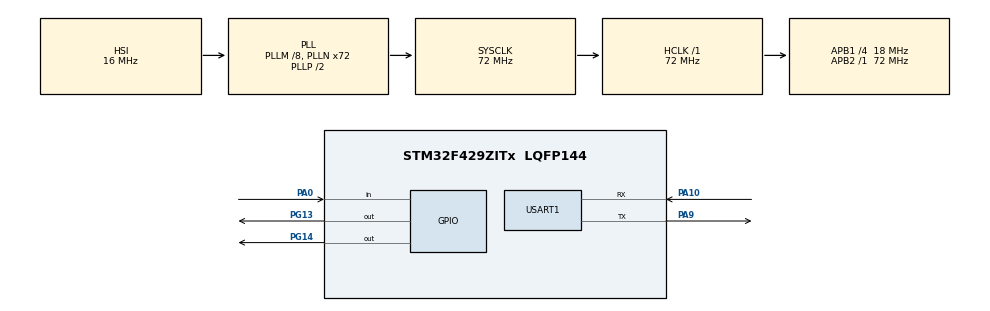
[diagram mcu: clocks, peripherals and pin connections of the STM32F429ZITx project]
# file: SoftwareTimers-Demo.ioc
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FREERTOS.Tasks01=defaultTask,24,128,StartDefaultTask,Default,NULL,Dynamic,NULL,NULL
Mcu.Family=STM32F4
Mcu.Name=STM32F429ZITx
Mcu.Package=LQFP144
NVIC.PriorityGroup=NVIC_PRIORITYGROUP_4
PA0/WKUP.GPIO_PuPd=GPIO_PULLDOWN
PA0/WKUP.Signal=GPIO_Input
PA10.Mode=Asynchronous
PA10.Signal=USART1_RX
PA9.Mode=Asynchronous
PA9.Signal=USART1_TX
PG13.Signal=GPIO_Output
PG14.Signal=GPIO_Output
ProjectManager.HeapSize=0x200
ProjectManager.StackSize=0x400
ProjectManager.TargetToolchain=STM32CubeIDE
RCC.48MHZClocksFreq_Value=48000000
RCC.AHBFreq_Value=72000000
RCC.APB1CLKDivider=RCC_HCLK_DIV4
RCC.APB1Freq_Value=18000000
RCC.APB1TimFreq_Value=36000000
RCC.APB2Freq_Value=72000000
RCC.APB2TimFreq_Value=72000000
RCC.CortexFreq_Value=72000000
RCC.HCLKFreq_Value=72000000
RCC.HSE_VALUE=8000000
RCC.HSI_VALUE=16000000
RCC.LSE_VALUE=32768
RCC.PLLM=8
RCC.PLLN=72
RCC.PLLQ=3
RCC.PLLSAIN=50
RCC.SYSCLKFreq_VALUE=72000000
RCC.SYSCLKSource=RCC_SYSCLKSOURCE_PLLCLK
RCC.VCOOutputFreq_Value=144000000
USART1.VirtualMode=VM_ASYNC
VP_FREERTOS_VS_CMSIS_V2.Mode=CMSIS_V2
board=STM32F429I-DISC1

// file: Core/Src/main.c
/* USER CODE BEGIN Header */
/**
 ******************************************************************************
 * @file           : main.c
 * @brief          : Main program body
 ******************************************************************************
 * @attention
 *
 * Copyright (c) 2025 STMicroelectronics.
 * All rights reserved.
 *
 * This software is licensed under terms that can be found in the LICENSE file
 * in the root directory of this software component.
 * If no LICENSE file comes with this software, it is provided AS-IS.
 *
 ******************************************************************************
 */
/* USER CODE END Header */
#include "main.h"

UART_HandleTypeDef huart1;

/* Definitions for defaultTask */

/* USER CODE BEGIN PV */
/* Timer handles */
TimerHandle_t xOneShotTimer;
TimerHandle_t xPeriodicTimer;

/* Counters */
static volatile uint32_t ulOneShotTimerExpiredCount = 0;
static volatile uint32_t ulPeriodicTimerExpiredCount = 0;
/* USER CODE END PV */

void SystemClock_Config(void);
static void MX_GPIO_Init(void);
static void MX_USART1_UART_Init(void);
void StartDefaultTask(void *argument);

/* USER CODE BEGIN PFP */
/* Function prototypes */
static void vOneShotTimerCallback(TimerHandle_t xTimer);
static void vPeriodicTimerCallback(TimerHandle_t xTimer);
static void ButtonTask(void *pvParameters);
/* USER CODE END PFP */

/* USER CODE BEGIN 0 */
int _write(int file, char *data, int len)
{
	HAL_UART_Transmit(&huart1, (uint8_t*)data, len, HAL_MAX_DELAY);
	return len;
}
/* USER CODE END 0 */

int main(void)
{

	/* MCU Configuration--------------------------------------------------------*/

	/* Reset of all peripherals, Initializes the Flash interface and the Systick. */
	HAL_Init();

	/* Configure the system clock */
	SystemClock_Config();

	/* Initialize all configured peripherals */
	MX_GPIO_Init();
	MX_USART1_UART_Init();

	/* Init scheduler */

	/* USER CODE BEGIN RTOS_TIMERS */
	/* start timers, add new ones, ... */
	/* Create One-Shot Timer (fires after 5 seconds) */
	xOneShotTimer = xTimerCreate(
			"OneShotTimer",         /* Name of the timer */
			pdMS_TO_TICKS(5000),    /* Timer period in ticks (5 seconds) */
			pdFALSE,                /* Auto-reload is false (one-shot) */
			(void*)0,               /* Timer ID (unused) */
			vOneShotTimerCallback); /* Callback function */

	/* Create Periodic Timer (fires every 1 second) */
	xPeriodicTimer = xTimerCreate(
			"PeriodicTimer",        /* Name of the timer */
			pdMS_TO_TICKS(1000),    /* Timer period in ticks (1 second) */
			pdTRUE,                 /* Auto-reload is true (periodic) */
			(void*)1,               /* Timer ID (unused) */
			vPeriodicTimerCallback);/* Callback function */

	if (xOneShotTimer != NULL && xPeriodicTimer != NULL) {
		printf("Timers created successfully.\r\n");

		/* Start the timers */
		if (xTimerStart(xOneShotTimer, 0) == pdPASS) {
			printf("One-Shot Timer started (5 seconds).\r\n");
		} else {
			printf("Failed to start One-Shot Timer.\r\n");
		}

		if (xTimerStart(xPeriodicTimer, 0) == pdPASS) {
			printf("Periodic Timer started (1 second).\r\n");
		} else {
			printf("Failed to start Periodic Timer.\r\n");
		}
		/* USER CODE END RTOS_TIMERS */

		/* Create the thread(s) */
		/* creation of defaultTask */

		/* USER CODE BEGIN RTOS_THREADS */
		/* add threads, ... */
		printf("=== FreeRTOS Software Timers Demonstration ===\r\n");
		printf("STM32F429I Discovery Board\r\n");

		/* Create button task to interact with one-shot timer */
		xTaskCreate(
				ButtonTask,             /* Task function */
				"Button",               /* Task name */
				configMINIMAL_STACK_SIZE, /* Stack size */
				NULL,                   /* Parameters to pass to the task */
				tskIDLE_PRIORITY + 1,   /* Task priority */
				NULL                    /* Task handle */
		);
		printf("All tasks created. Starting scheduler...\r\n");

		/* Start the scheduler */
		vTaskStartScheduler();
	} else {
		printf("Failed to create timers. Out of memory?\r\n");
	}
	/* USER CODE END RTOS_THREADS */

	/* Start scheduler */

	/* We should never get here as control is now taken by the scheduler */

	/* Infinite loop */
	while (1)
	{

	}
}

void SystemClock_Config(void)
{
	RCC_OscInitTypeDef RCC_OscInitStruct = {0};
	RCC_ClkInitTypeDef RCC_ClkInitStruct = {0};

	/** Configure the main internal regulator output voltage
	 */
	__HAL_RCC_PWR_CLK_ENABLE();
	__HAL_PWR_VOLTAGESCALING_CONFIG(PWR_REGULATOR_VOLTAGE_SCALE3);

	/** Initializes the RCC Oscillators according to the specified parameters
	 * in the RCC_OscInitTypeDef structure.
	 */
	RCC_OscInitStruct.OscillatorType = RCC_OSCILLATORTYPE_HSI;
	RCC_OscInitStruct.HSIState = RCC_HSI_ON;
	RCC_OscInitStruct.HSICalibrationValue = RCC_HSICALIBRATION_DEFAULT;
	RCC_OscInitStruct.PLL.PLLState = RCC_PLL_ON;
	RCC_OscInitStruct.PLL.PLLSource = RCC_PLLSOURCE_HSI;
	RCC_OscInitStruct.PLL.PLLM = 8;
	RCC_OscInitStruct.PLL.PLLN = 72;
	RCC_OscInitStruct.PLL.PLLP = RCC_PLLP_DIV2;
	RCC_OscInitStruct.PLL.PLLQ = 3;
	if (HAL_RCC_OscConfig(&RCC_OscInitStruct) != HAL_OK)
	{
		Error_Handler();
	}

	/** Initializes the CPU, AHB and APB buses clocks
	 */
	RCC_ClkInitStruct.ClockType = RCC_CLOCKTYPE_HCLK|RCC_CLOCKTYPE_SYSCLK
			|RCC_CLOCKTYPE_PCLK1|RCC_CLOCKTYPE_PCLK2;
	RCC_ClkInitStruct.SYSCLKSource = RCC_SYSCLKSOURCE_PLLCLK;
	RCC_ClkInitStruct.AHBCLKDivider = RCC_SYSCLK_DIV1;
	RCC_ClkInitStruct.APB1CLKDivider = RCC_HCLK_DIV4;
	RCC_ClkInitStruct.APB2CLKDivider = RCC_HCLK_DIV1;

	if (HAL_RCC_ClockConfig(&RCC_ClkInitStruct, FLASH_LATENCY_2) != HAL_OK)
	{
		Error_Handler();
	}
}

static void MX_USART1_UART_Init(void)
{

	huart1.Instance = USART1;
	huart1.Init.BaudRate = 115200;
	huart1.Init.WordLength = UART_WORDLENGTH_8B;
	huart1.Init.StopBits = UART_STOPBITS_1;
	huart1.Init.Parity = UART_PARITY_NONE;
	huart1.Init.Mode = UART_MODE_TX_RX;
	huart1.Init.HwFlowCtl = UART_HWCONTROL_NONE;
	huart1.Init.OverSampling = UART_OVERSAMPLING_16;
	if (HAL_UART_Init(&huart1) != HAL_OK)
	{
		Error_Handler();
	}

}

static void MX_GPIO_Init(void)
{
	GPIO_InitTypeDef GPIO_InitStruct = {0};

	/* GPIO Ports Clock Enable */
	__HAL_RCC_GPIOA_CLK_ENABLE();
	__HAL_RCC_GPIOG_CLK_ENABLE();

	/*Configure GPIO pin Output Level */
	HAL_GPIO_WritePin(GPIOG, GPIO_PIN_13|GPIO_PIN_14, GPIO_PIN_RESET);

	/*Configure GPIO pin : PA0 */
	GPIO_InitStruct.Pin = GPIO_PIN_0;
	GPIO_InitStruct.Mode = GPIO_MODE_INPUT;
	GPIO_InitStruct.Pull = GPIO_PULLDOWN;
	HAL_GPIO_Init(GPIOA, &GPIO_InitStruct);

	/*Configure GPIO pins : PG13 PG14 */
	GPIO_InitStruct.Pin = GPIO_PIN_13|GPIO_PIN_14;
	GPIO_InitStruct.Mode = GPIO_MODE_OUTPUT_PP;
	GPIO_InitStruct.Pull = GPIO_NOPULL;
	GPIO_InitStruct.Speed = GPIO_SPEED_FREQ_LOW;
	HAL_GPIO_Init(GPIOG, &GPIO_InitStruct);

}

/* USER CODE BEGIN 4 */
/**
 * @brief One-Shot Timer Callback Function
 * @param xTimer: Handle of the timer that expired
 */
static void vOneShotTimerCallback(TimerHandle_t xTimer)
{
	(void)xTimer; /* Suppress unused parameter warning */
	ulOneShotTimerExpiredCount++;
	printf("One-Shot Timer Expired! Count: %lu\r\n", ulOneShotTimerExpiredCount);
	HAL_GPIO_TogglePin(GPIOG, GPIO_PIN_14); /* Toggle Red LED */
}

/**
 * @brief Periodic Timer Callback Function
 * @param xTimer: Handle of the timer that expired
 */
static void vPeriodicTimerCallback(TimerHandle_t xTimer)
{
	(void)xTimer; /* Suppress unused parameter warning */
	ulPeriodicTimerExpiredCount++;
	printf("Periodic Timer Expired! Count: %lu\r\n", ulPeriodicTimerExpiredCount);
	HAL_GPIO_TogglePin(GPIOG, GPIO_PIN_13); /* Toggle Green LED */
}

/**
 * @brief Button Task - Resets the one-shot timer when button is pressed
 * @param pvParameters: Task parameters (unused)
 */
static void ButtonTask(void *pvParameters)
{
	(void)pvParameters; /* Suppress unused parameter warning */

	printf("Button Task: Started - Press button to reset One-Shot Timer\r\n");

	for (;;) {
		/* Check if button is pressed */
		if (HAL_GPIO_ReadPin(GPIOA, GPIO_PIN_0) == GPIO_PIN_SET) {
			/* Reset the one-shot timer */
			if (xTimerReset(xOneShotTimer, 0) == pdPASS) {
				printf("One-Shot Timer reset by button press.\r\n");
				HAL_GPIO_TogglePin(GPIOG, GPIO_PIN_14); /* Turn on red LED to indicate reset */
			} else {
				printf("Failed to reset One-Shot Timer.\r\n");
			}

			/* Wait for button release */
			while (HAL_GPIO_ReadPin(GPIOA, GPIO_PIN_0) == GPIO_PIN_SET) {
				vTaskDelay(pdMS_TO_TICKS(10));
			}
			HAL_GPIO_TogglePin(GPIOG, GPIO_PIN_14); /* Turn off red LED after release */
		}

		vTaskDelay(pdMS_TO_TICKS(50));
	}
}
/* USER CODE END 4 */

void StartDefaultTask(void *argument)
{
	for(;;)
	{
	}
}

void Error_Handler(void)
{
	__disable_irq();
	while (1)
	{
	}
}
